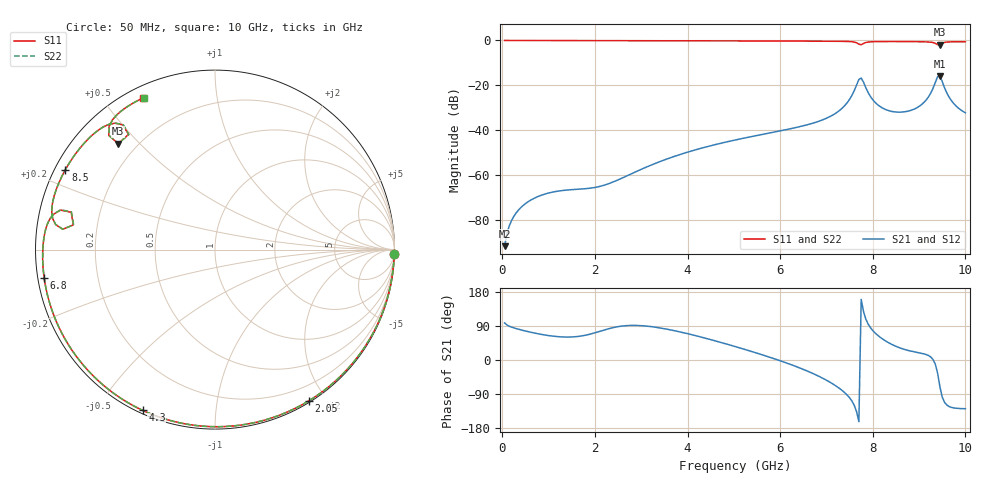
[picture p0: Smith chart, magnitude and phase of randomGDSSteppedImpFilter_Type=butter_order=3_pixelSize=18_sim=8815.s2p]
! freq	dB(S11)	phase(S11)	dB(S12)	phase(S12)
!  dB(S21)	phase(S21)	dB(S22)	phase(S22)
!S-par simulation data
#  GHz  S  DB  R 50
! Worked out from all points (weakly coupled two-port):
!   200 points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, 50 MHz to 10 GHz, reference 50 ohm
!   highest |S21| = -15.81 dB at 9.45 GHz (marker M1); lowest = -91.6 dB at 50 MHz (marker M2)
!   lowest |S11| = -1.9 dB at 9.45 GHz (marker M3), VSWR 9.00, Z = 6.62 + j21.7 ohm
!   |S11| at or under -10 dB: nowhere
!   |S22| runs from -1.9 to 0.0 dB; largest |S21 - S12| = 0
!   S11 on the Smith chart (normalised r, x): 50 MHz: 1, -81; 2.05 GHz: 0.02, -1.80; 4.3 GHz: 0.01, -0.65; 6.8 GHz: 0.02, -0.08; 8.5 GHz: 0.03, +0.25; 10 GHz: 0.05, +0.63
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0.05  -0.00 -1.4  -91.62 97.9  -91.62 97.9  -0.00 -1.4
0.2  -0.01 -5.8  -80.21 86.7  -80.21 86.7  -0.01 -5.8
0.45  -0.02 -13.1  -73.49 78.0  -73.49 78.0  -0.02 -13.1
0.8  -0.03 -23.2  -69.26 68.6  -69.26 68.6  -0.03 -23.2
1.75  -0.06 -49.9  -66.10 64.3  -66.10 64.3  -0.06 -49.9
2.05  -0.07 -58.1  -65.26 73.6  -65.26 73.6  -0.07 -58.1
3.4  -0.12 -92.7  -53.98 84.7  -53.98 84.7  -0.12 -92.8
4.3  -0.15 -114.2  -47.97 60.3  -47.97 60.3  -0.15 -114.3
5.05  -0.19 -131.4  -44.24 34.8  -44.24 34.8  -0.19 -131.5
6.7  -0.30 -168.4  -36.89 -35.2  -36.89 -35.2  -0.30 -168.5
6.8  -0.31 -170.7  -36.24 -40.9  -36.24 -40.9  -0.31 -170.8
7.35  -0.40 175.9  -29.96 -81.6  -29.96 -81.6  -0.40 175.8
7.65  -1.03 165.7  -19.83 -136.2  -19.83 -136.2  -1.04 165.5
7.75  -1.93 170.1  -16.73 160.0  -16.73 160.0  -1.94 170.0
8  -0.55 165.6  -26.41 77.7  -26.41 77.7  -0.56 165.5
8.35  -0.48 155.8  -31.29 45.0  -31.29 45.0  -0.48 155.7
8.5  -0.49 151.9  -31.88 36.0  -31.88 36.0  -0.49 151.8
9.05  -0.58 137.0  -28.63 17.7  -28.63 17.7  -0.58 136.9
9.3  -0.93 128.4  -21.36 1.6  -21.36 1.6  -0.93 128.2
9.45  -1.94 132.4  -15.81 -70.7  -15.81 -70.7  -1.95 132.3
9.7  -0.61 124.5  -26.85 -125.1  -26.85 -125.1  -0.61 124.4
10  -0.58 115.2  -32.24 -128.6  -32.24 -128.6  -0.58 115.1
